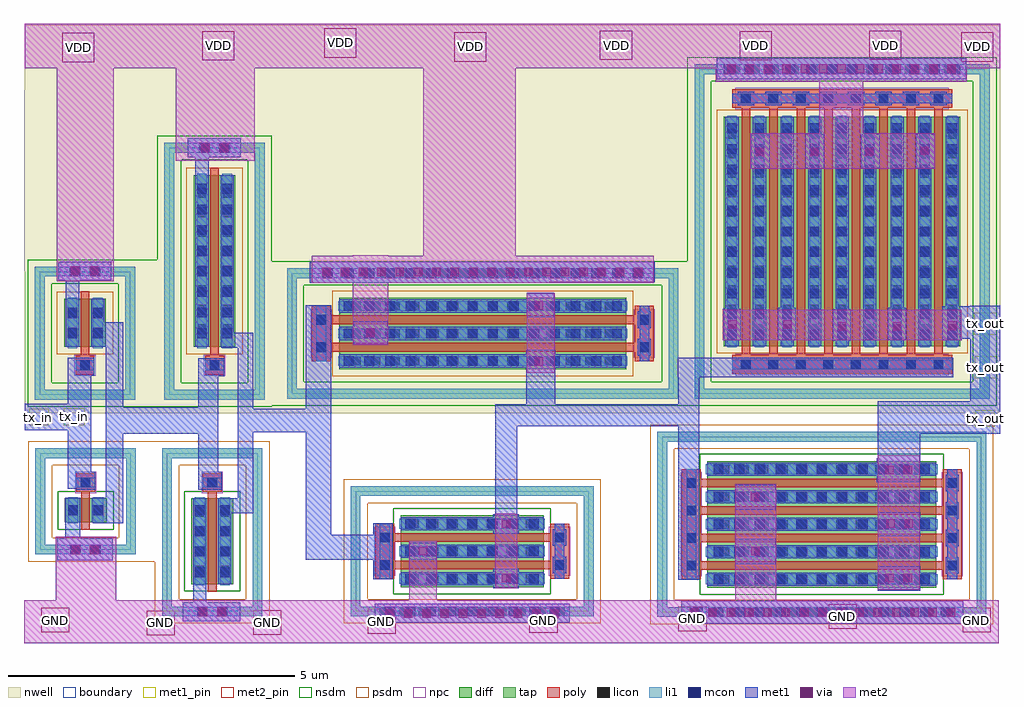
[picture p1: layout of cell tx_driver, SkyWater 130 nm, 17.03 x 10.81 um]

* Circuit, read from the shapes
.subckt tx_driver GND VDD tx_in tx_out
XM1 sky130_fd_pr__nfet_01v8_QR2VME_4/D tx_in GND GND sky130_fd_pr__nfet_01v8 w=0.42 l=0.15
XM2 sky130_fd_pr__nfet_01v8_B963HY_5/D sky130_fd_pr__nfet_01v8_QR2VME_4/D GND GND sky130_fd_pr__nfet_01v8 w=1.5 l=0.15
XM3 GND sky130_fd_pr__nfet_01v8_B963HY_5/D sky130_fd_pr__nfet_01v8_J6ZURV_6/D0 GND sky130_fd_pr__nfet_01v8 w=2.5 l=0.15 m=2
XM4 GND sky130_fd_pr__nfet_01v8_J6ZURV_6/D0 tx_out GND sky130_fd_pr__nfet_01v8 w=4 l=0.15 m=4
XM5 sky130_fd_pr__nfet_01v8_QR2VME_4/D tx_in VDD VDD sky130_fd_pr__pfet_01v8 w=0.84 l=0.15
XM6 sky130_fd_pr__nfet_01v8_B963HY_5/D sky130_fd_pr__nfet_01v8_QR2VME_4/D VDD VDD sky130_fd_pr__pfet_01v8 w=3 l=0.15
XM7 VDD sky130_fd_pr__nfet_01v8_B963HY_5/D sky130_fd_pr__nfet_01v8_J6ZURV_6/D0 VDD sky130_fd_pr__pfet_01v8 w=5 l=0.15 m=2
XM8 VDD sky130_fd_pr__nfet_01v8_J6ZURV_6/D0 tx_out VDD sky130_fd_pr__pfet_01v8 w=4 l=0.15 m=8
.ends

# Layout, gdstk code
from math import pi, radians
import gdstk
lib = gdstk.Library(unit=1e-6, precision=1e-09)
def R(c, l, rs):  # rectangles x0, y0, x1, y1
    for r in rs: c.add(gdstk.rectangle(r[:2], r[2:], *l))
def A(c, l, x, y, w, h, nx, ny, dx, dy):  # array of equal rectangles
    R(c, l, [(x+i*dx, y+j*dy, x+i*dx+w, y+j*dy+h) for i in range(nx) for j in range(ny)])
nwell = (64, 20)
diff = (65, 20)
tap = (65, 44)
poly = (66, 20)
licon = (66, 44)
li1 = (67, 20)
mcon = (67, 44)
met1_pin = (68, 16)
met1 = (68, 20)
via = (68, 44)
met2_pin = (69, 16)
met2 = (69, 20)
nsdm = (93, 44)
psdm = (94, 20)
npc = (95, 20)
boundary = (235, 4)

sky130_fd_pr__pfet_01v8_ = lib.new_cell('sky130_fd_pr__pfet_01v8_JLBS79')
R(sky130_fd_pr__pfet_01v8_, nwell, [(-1.055,-1.34,1.055,1.34)])
R(sky130_fd_pr__pfet_01v8_, diff, [(-0.365,-0.24,0.365,0.6)])
R(sky130_fd_pr__pfet_01v8_, tap, [(-0.875,-1.16,0.875,-0.99), (-0.875,-0.99,-0.705,0.99), (0.705,-0.99,0.875,0.99), (-0.875,0.99,0.875,1.16)])
R(sky130_fd_pr__pfet_01v8_, poly, [(-0.165,-0.725,0.165,-0.395), (-0.075,-0.395,0.075,0.73)])
R(sky130_fd_pr__pfet_01v8_, licon, [(-0.085,-0.645,0.085,-0.475), (-0.305,-0.075,-0.135,0.095), (0.135,-0.075,0.305,0.095), (-0.305,0.265,-0.135,0.435), (0.135,0.265,0.305,0.435), (-0.255,0.99,-0.085,1.16), (0.085,0.99,0.255,1.16)])
R(sky130_fd_pr__pfet_01v8_, li1, [(-0.875,-1.16,0.875,-0.99), (-0.875,-0.99,-0.705,0.99), (0.705,-0.99,0.875,0.99), (-0.165,-0.645,0.165,-0.475), (-0.305,-0.26,-0.135,0.62), (0.135,-0.26,0.305,0.62), (-0.875,0.99,0.875,1.16)])
R(sky130_fd_pr__pfet_01v8_, mcon, [(-0.085,-0.645,0.085,-0.475), (-0.305,-0.085,-0.135,0.085), (0.135,-0.085,0.305,0.085), (-0.305,0.275,-0.135,0.445), (0.135,0.275,0.305,0.445)])
R(sky130_fd_pr__pfet_01v8_, met1, [(-0.145,-0.675,0.145,-0.445), (-0.335,-0.24,-0.105,0.6), (0.105,-0.24,0.335,0.6)])
R(sky130_fd_pr__pfet_01v8_, nsdm, [(-1,-1.285,1,-0.865), (-1,-0.865,-0.58,0.865), (0.58,-0.865,1,0.865), (-1,0.865,1,1.285)])
R(sky130_fd_pr__pfet_01v8_, psdm, [(-0.49,-0.365,0.49,0.725)])
R(sky130_fd_pr__pfet_01v8_, npc, [(-0.185,-0.745,0.185,-0.375)])
R(sky130_fd_pr__pfet_01v8_, boundary, [(-0.79,-1.075,0.79,1.075)])
sky130_fd_pr__pfet_01v8_.add(gdstk.Label('B', (0,-1.075), layer=65, texttype=5))
sky130_fd_pr__pfet_01v8_.add(gdstk.Label('G', (0,-0.56), layer=67, texttype=5))
sky130_fd_pr__pfet_01v8_.add(gdstk.Label('S', (0.22,0.18), layer=67, texttype=5))
sky130_fd_pr__pfet_01v8_.add(gdstk.Label('D', (-0.22,0.18), layer=67, texttype=5))

c_sky130_fd_pr__pfet_01v8_ = lib.new_cell('sky130_fd_pr__pfet_01v8_469T24')
R(c_sky130_fd_pr__pfet_01v8_, nwell, [(-1.055,-2.42,1.055,2.42)])
R(c_sky130_fd_pr__pfet_01v8_, diff, [(-0.365,-1.32,0.365,1.68)])
R(c_sky130_fd_pr__pfet_01v8_, tap, [(-0.875,-2.24,0.875,-2.07), (-0.875,-2.07,-0.705,2.07), (0.705,-2.07,0.875,2.07), (-0.875,2.07,0.875,2.24)])
R(c_sky130_fd_pr__pfet_01v8_, poly, [(-0.165,-1.805,0.165,-1.475), (-0.075,-1.475,0.075,1.81)])
A(c_sky130_fd_pr__pfet_01v8_, licon, -0.305, -1.095, 0.17, 0.17, 1, 8, 0, 0.34)
A(c_sky130_fd_pr__pfet_01v8_, licon, 0.135, -1.095, 0.17, 0.17, 1, 8, 0, 0.34)
R(c_sky130_fd_pr__pfet_01v8_, licon, [(-0.085,-1.725,0.085,-1.555), (-0.255,2.07,-0.085,2.24), (0.085,2.07,0.255,2.24)])
R(c_sky130_fd_pr__pfet_01v8_, li1, [(-0.875,-2.24,0.875,-2.07), (-0.875,-2.07,-0.705,2.07), (0.705,-2.07,0.875,2.07), (-0.165,-1.725,0.165,-1.555), (-0.305,-1.34,-0.135,1.7), (0.135,-1.34,0.305,1.7), (-0.875,2.07,0.875,2.24)])
A(c_sky130_fd_pr__pfet_01v8_, mcon, -0.305, -1.165, 0.17, 0.17, 1, 8, 0, 0.36)
A(c_sky130_fd_pr__pfet_01v8_, mcon, 0.135, -1.165, 0.17, 0.17, 1, 8, 0, 0.36)
R(c_sky130_fd_pr__pfet_01v8_, mcon, [(-0.085,-1.725,0.085,-1.555)])
R(c_sky130_fd_pr__pfet_01v8_, met1, [(-0.145,-1.755,0.145,-1.525), (-0.335,-1.32,-0.105,1.68), (0.105,-1.32,0.335,1.68)])
R(c_sky130_fd_pr__pfet_01v8_, nsdm, [(-1,-2.365,1,-1.945), (-1,-1.945,-0.58,1.945), (0.58,-1.945,1,1.945), (-1,1.945,1,2.365)])
R(c_sky130_fd_pr__pfet_01v8_, psdm, [(-0.49,-1.445,0.49,1.805)])
R(c_sky130_fd_pr__pfet_01v8_, npc, [(-0.185,-1.825,0.185,-1.455)])
R(c_sky130_fd_pr__pfet_01v8_, boundary, [(-0.79,-2.155,0.79,2.155)])
c_sky130_fd_pr__pfet_01v8_.add(gdstk.Label('B', (0,-2.155), layer=65, texttype=5))
c_sky130_fd_pr__pfet_01v8_.add(gdstk.Label('G', (0,-1.64), layer=67, texttype=5))
c_sky130_fd_pr__pfet_01v8_.add(gdstk.Label('S', (0.22,0.18), layer=67, texttype=5))
c_sky130_fd_pr__pfet_01v8_.add(gdstk.Label('D', (-0.22,0.18), layer=67, texttype=5))

c_sky130_fd_pr__pfet_01v8__ = lib.new_cell('sky130_fd_pr__pfet_01v8_HYQDXA')
R(c_sky130_fd_pr__pfet_01v8__, nwell, [(-1.315,-3.595,1.315,3.595)])
R(c_sky130_fd_pr__pfet_01v8__, diff, [(-0.625,-2.5,0.625,2.5)])
R(c_sky130_fd_pr__pfet_01v8__, tap, [(-1.135,-3.415,1.135,-3.245), (-1.135,-3.245,-0.965,3.245), (0.965,-3.245,1.135,3.245), (-1.135,3.245,1.135,3.415)])
R(c_sky130_fd_pr__pfet_01v8__, poly, [(-0.48,-2.985,0.48,-2.655), (-0.315,-2.655,-0.165,2.655), (0.165,-2.655,0.315,2.655), (-0.48,2.655,0.48,2.985)])
A(c_sky130_fd_pr__pfet_01v8__, licon, 0.965, -2.805, 0.17, 0.17, 1, 17, 0, 0.34)
A(c_sky130_fd_pr__pfet_01v8__, licon, -0.565, -2.295, 0.17, 0.17, 3, 14, 0.48, 0.34)
R(c_sky130_fd_pr__pfet_01v8__, licon, [(-0.325,-2.905,-0.155,-2.735), (0.155,-2.905,0.325,-2.735), (-0.325,2.735,-0.155,2.905), (0.155,2.735,0.325,2.905)])
A(c_sky130_fd_pr__pfet_01v8__, li1, -0.565, -2.52, 0.17, 5.04, 3, 1, 0.48, 0)
R(c_sky130_fd_pr__pfet_01v8__, li1, [(-1.135,-3.415,1.135,-3.245), (-1.135,-3.245,-0.965,3.245), (0.965,-3.245,1.135,3.245), (-0.48,-2.905,0.48,-2.735), (-0.48,2.735,0.48,2.905), (-1.135,3.245,1.135,3.415)])
A(c_sky130_fd_pr__pfet_01v8__, mcon, -0.565, -2.425, 0.17, 0.17, 3, 14, 0.48, 0.36)
R(c_sky130_fd_pr__pfet_01v8__, mcon, [(-0.325,-2.905,-0.155,-2.735), (0.155,-2.905,0.325,-2.735), (-0.325,2.735,-0.155,2.905), (0.155,2.735,0.325,2.905)])
A(c_sky130_fd_pr__pfet_01v8__, met1, -0.595, -2.5, 0.23, 5, 3, 1, 0.48, 0)
R(c_sky130_fd_pr__pfet_01v8__, met1, [(-0.385,-2.935,-0.095,-2.905), (0.095,-2.935,0.385,-2.905), (-0.48,-2.905,0.48,-2.735), (-0.385,-2.735,-0.095,-2.705), (0.095,-2.735,0.385,-2.705), (-0.385,2.705,-0.095,2.735), (0.095,2.705,0.385,2.735), (-0.48,2.735,0.48,2.905), (-0.385,2.905,-0.095,2.935), (0.095,2.905,0.385,2.935)])
R(c_sky130_fd_pr__pfet_01v8__, nsdm, [(-1.26,-3.54,1.26,-3.12), (-1.26,-3.12,-0.84,3.12), (0.84,-3.12,1.26,3.12), (-1.26,3.12,1.26,3.54)])
R(c_sky130_fd_pr__pfet_01v8__, psdm, [(-0.75,-2.625,0.75,2.625)])
R(c_sky130_fd_pr__pfet_01v8__, npc, [(-0.425,-3.005,0.425,-2.635), (-0.425,2.635,0.425,3.005)])
R(c_sky130_fd_pr__pfet_01v8__, boundary, [(-1.05,-3.33,1.05,3.33)])
c_sky130_fd_pr__pfet_01v8__.add(gdstk.Label('B', (0,-3.33), layer=65, texttype=5))
c_sky130_fd_pr__pfet_01v8__.add(gdstk.Label('S1', (0,0), layer=67, texttype=5))
c_sky130_fd_pr__pfet_01v8__.add(gdstk.Label('G', (-0.24,2.82), layer=67, texttype=5))
c_sky130_fd_pr__pfet_01v8__.add(gdstk.Label('G', (0.24,2.82), layer=67, texttype=5))
c_sky130_fd_pr__pfet_01v8__.add(gdstk.Label('D0', (-0.48,0), layer=67, texttype=5))

c_sky130_fd_pr__pfet_01v8___ = lib.new_cell('sky130_fd_pr__pfet_01v8_DNXYRW')
R(c_sky130_fd_pr__pfet_01v8___, nwell, [(-2.755,-3.095,2.755,3.095)])
R(c_sky130_fd_pr__pfet_01v8___, diff, [(-2.065,-2,2.065,2)])
R(c_sky130_fd_pr__pfet_01v8___, tap, [(-2.575,-2.915,2.575,-2.745), (-2.575,-2.745,-2.405,2.745), (2.405,-2.745,2.575,2.745), (-2.575,2.745,2.575,2.915)])
A(c_sky130_fd_pr__pfet_01v8___, poly, -1.755, -2.155, 0.15, 4.31, 8, 1, 0.48, 0)
R(c_sky130_fd_pr__pfet_01v8___, poly, [(-1.92,-2.485,1.92,-2.155), (-1.92,2.155,1.92,2.485)])
A(c_sky130_fd_pr__pfet_01v8___, licon, -1.765, -2.405, 0.17, 0.17, 8, 2, 0.48, 4.64)
A(c_sky130_fd_pr__pfet_01v8___, licon, -2.005, -1.785, 0.17, 0.17, 9, 11, 0.48, 0.34)
A(c_sky130_fd_pr__pfet_01v8___, licon, -1.955, 2.745, 0.17, 0.17, 12, 1, 0.34, 0)
A(c_sky130_fd_pr__pfet_01v8___, li1, -2.005, -2.02, 0.17, 4.04, 9, 1, 0.48, 0)
R(c_sky130_fd_pr__pfet_01v8___, li1, [(-2.575,-2.915,2.575,-2.745), (-2.575,-2.745,-2.405,2.745), (2.405,-2.745,2.575,2.745), (-1.92,-2.405,1.92,-2.235), (-1.92,2.235,1.92,2.405), (-2.575,2.745,2.575,2.915)])
A(c_sky130_fd_pr__pfet_01v8___, mcon, -1.765, -2.405, 0.17, 0.17, 8, 2, 0.48, 4.64)
A(c_sky130_fd_pr__pfet_01v8___, mcon, -2.005, -1.885, 0.17, 0.17, 9, 11, 0.48, 0.36)
A(c_sky130_fd_pr__pfet_01v8___, met1, -1.825, -2.435, 0.29, 0.03, 8, 2, 0.48, 0.2)
A(c_sky130_fd_pr__pfet_01v8___, met1, -2.035, -2, 0.23, 4, 9, 1, 0.48, 0)
A(c_sky130_fd_pr__pfet_01v8___, met1, -1.825, 2.205, 0.29, 0.03, 8, 2, 0.48, 0.2)
R(c_sky130_fd_pr__pfet_01v8___, met1, [(-1.92,-2.405,1.92,-2.235), (-1.92,2.235,1.92,2.405)])
R(c_sky130_fd_pr__pfet_01v8___, nsdm, [(-2.7,-3.04,2.7,-2.62), (-2.7,-2.62,-2.28,2.62), (2.28,-2.62,2.7,2.62), (-2.7,2.62,2.7,3.04)])
R(c_sky130_fd_pr__pfet_01v8___, psdm, [(-2.19,-2.125,2.19,2.125)])
R(c_sky130_fd_pr__pfet_01v8___, npc, [(-1.865,-2.505,1.865,-2.135), (-1.865,2.135,1.865,2.505)])
R(c_sky130_fd_pr__pfet_01v8___, boundary, [(-2.49,-2.83,2.49,2.83)])
c_sky130_fd_pr__pfet_01v8___.add(gdstk.Label('B', (0,-2.83), layer=65, texttype=5))
c_sky130_fd_pr__pfet_01v8___.add(gdstk.Label('S7', (1.44,0), layer=67, texttype=5))
c_sky130_fd_pr__pfet_01v8___.add(gdstk.Label('D6', (0.96,0), layer=67, texttype=5))
c_sky130_fd_pr__pfet_01v8___.add(gdstk.Label('S5', (0.48,0), layer=67, texttype=5))
c_sky130_fd_pr__pfet_01v8___.add(gdstk.Label('S3', (-0.48,0), layer=67, texttype=5))
c_sky130_fd_pr__pfet_01v8___.add(gdstk.Label('D2', (-0.96,0), layer=67, texttype=5))
c_sky130_fd_pr__pfet_01v8___.add(gdstk.Label('S1', (-1.44,0), layer=67, texttype=5))
c_sky130_fd_pr__pfet_01v8___.add(gdstk.Label('D4', (0,0), layer=67, texttype=5))
c_sky130_fd_pr__pfet_01v8___.add(gdstk.Label('G', (-1.68,2.32), layer=67, texttype=5))
c_sky130_fd_pr__pfet_01v8___.add(gdstk.Label('G', (-1.2,2.32), layer=67, texttype=5))
c_sky130_fd_pr__pfet_01v8___.add(gdstk.Label('G', (-0.72,2.32), layer=67, texttype=5))
c_sky130_fd_pr__pfet_01v8___.add(gdstk.Label('G', (-0.24,2.32), layer=67, texttype=5))
c_sky130_fd_pr__pfet_01v8___.add(gdstk.Label('G', (0.24,2.32), layer=67, texttype=5))
c_sky130_fd_pr__pfet_01v8___.add(gdstk.Label('G', (0.72,2.32), layer=67, texttype=5))
c_sky130_fd_pr__pfet_01v8___.add(gdstk.Label('G', (1.2,2.32), layer=67, texttype=5))
c_sky130_fd_pr__pfet_01v8___.add(gdstk.Label('G', (1.68,2.32), layer=67, texttype=5))
c_sky130_fd_pr__pfet_01v8___.add(gdstk.Label('D0', (-1.92,0), layer=67, texttype=5))

sky130_fd_pr__nfet_01v8_ = lib.new_cell('sky130_fd_pr__nfet_01v8_QR2VME')
R(sky130_fd_pr__nfet_01v8_, diff, [(-0.365,-0.365,0.365,0.055)])
R(sky130_fd_pr__nfet_01v8_, tap, [(-0.875,-0.925,0.875,-0.755), (-0.875,-0.755,-0.705,0.755), (0.705,-0.755,0.875,0.755), (-0.875,0.755,0.875,0.925)])
R(sky130_fd_pr__nfet_01v8_, poly, [(-0.075,-0.495,0.075,0.165), (-0.165,0.165,0.165,0.495)])
R(sky130_fd_pr__nfet_01v8_, licon, [(-0.255,-0.925,-0.085,-0.755), (0.085,-0.925,0.255,-0.755), (-0.305,-0.24,-0.135,-0.07), (0.135,-0.24,0.305,-0.07), (-0.085,0.245,0.085,0.415)])
R(sky130_fd_pr__nfet_01v8_, li1, [(-0.875,-0.925,0.875,-0.755), (-0.875,-0.755,-0.705,0.755), (0.705,-0.755,0.875,0.755), (-0.305,-0.385,-0.135,0.075), (0.135,-0.385,0.305,0.075), (-0.165,0.245,0.165,0.415), (-0.875,0.755,0.875,0.925)])
R(sky130_fd_pr__nfet_01v8_, mcon, [(-0.305,-0.24,-0.135,-0.07), (0.135,-0.24,0.305,-0.07), (-0.085,0.245,0.085,0.415)])
R(sky130_fd_pr__nfet_01v8_, met1, [(-0.335,-0.365,-0.105,0.055), (0.105,-0.365,0.335,0.055), (-0.145,0.215,0.145,0.445)])
R(sky130_fd_pr__nfet_01v8_, nsdm, [(-0.49,-0.49,0.49,0.18)])
R(sky130_fd_pr__nfet_01v8_, psdm, [(-1,-1.05,1,-0.63), (-1,-0.63,-0.58,0.63), (0.58,-0.63,1,0.63), (-1,0.63,1,1.05)])
R(sky130_fd_pr__nfet_01v8_, npc, [(-0.185,0.145,0.185,0.515)])
R(sky130_fd_pr__nfet_01v8_, boundary, [(-0.79,-0.84,0.79,0.84)])
sky130_fd_pr__nfet_01v8_.add(gdstk.Label('G', (0,0.33), layer=67, texttype=5))
sky130_fd_pr__nfet_01v8_.add(gdstk.Label('S', (0.22,-0.155), layer=67, texttype=5))
sky130_fd_pr__nfet_01v8_.add(gdstk.Label('D', (-0.22,-0.155), layer=67, texttype=5))
sky130_fd_pr__nfet_01v8_.add(gdstk.Label('B', (0,-0.84), layer=67, texttype=5))

c_sky130_fd_pr__nfet_01v8_ = lib.new_cell('sky130_fd_pr__nfet_01v8_B963HY')
R(c_sky130_fd_pr__nfet_01v8_, diff, [(-0.365,-0.905,0.365,0.595)])
R(c_sky130_fd_pr__nfet_01v8_, tap, [(-0.875,-1.465,0.875,-1.295), (-0.875,-1.295,-0.705,1.295), (0.705,-1.295,0.875,1.295), (-0.875,1.295,0.875,1.465)])
R(c_sky130_fd_pr__nfet_01v8_, poly, [(-0.075,-1.035,0.075,0.705), (-0.165,0.705,0.165,1.035)])
A(c_sky130_fd_pr__nfet_01v8_, licon, -0.305, -0.75, 0.17, 0.17, 1, 4, 0, 0.34)
A(c_sky130_fd_pr__nfet_01v8_, licon, 0.135, -0.75, 0.17, 0.17, 1, 4, 0, 0.34)
R(c_sky130_fd_pr__nfet_01v8_, licon, [(-0.255,-1.465,-0.085,-1.295), (0.085,-1.465,0.255,-1.295), (-0.085,0.785,0.085,0.955)])
R(c_sky130_fd_pr__nfet_01v8_, li1, [(-0.875,-1.465,0.875,-1.295), (-0.875,-1.295,-0.705,1.295), (0.705,-1.295,0.875,1.295), (-0.305,-0.925,-0.135,0.615), (0.135,-0.925,0.305,0.615), (-0.165,0.785,0.165,0.955), (-0.875,1.295,0.875,1.465)])
A(c_sky130_fd_pr__nfet_01v8_, mcon, -0.305, -0.78, 0.17, 0.17, 1, 4, 0, 0.36)
A(c_sky130_fd_pr__nfet_01v8_, mcon, 0.135, -0.78, 0.17, 0.17, 1, 4, 0, 0.36)
R(c_sky130_fd_pr__nfet_01v8_, mcon, [(-0.085,0.785,0.085,0.955)])
R(c_sky130_fd_pr__nfet_01v8_, met1, [(-0.335,-0.905,-0.105,0.595), (0.105,-0.905,0.335,0.595), (-0.145,0.755,0.145,0.985)])
R(c_sky130_fd_pr__nfet_01v8_, nsdm, [(-0.49,-1.03,0.49,0.72)])
R(c_sky130_fd_pr__nfet_01v8_, psdm, [(-1,-1.59,1,-1.17), (-1,-1.17,-0.58,1.17), (0.58,-1.17,1,1.17), (-1,1.17,1,1.59)])
R(c_sky130_fd_pr__nfet_01v8_, npc, [(-0.185,0.685,0.185,1.055)])
R(c_sky130_fd_pr__nfet_01v8_, boundary, [(-0.79,-1.38,0.79,1.38)])
c_sky130_fd_pr__nfet_01v8_.add(gdstk.Label('G', (0,0.87), layer=67, texttype=5))
c_sky130_fd_pr__nfet_01v8_.add(gdstk.Label('S', (0.22,-0.155), layer=67, texttype=5))
c_sky130_fd_pr__nfet_01v8_.add(gdstk.Label('D', (-0.22,-0.155), layer=67, texttype=5))
c_sky130_fd_pr__nfet_01v8_.add(gdstk.Label('B', (0,-1.38), layer=67, texttype=5))

c_sky130_fd_pr__nfet_01v8__ = lib.new_cell('sky130_fd_pr__nfet_01v8_J6ZURV')
R(c_sky130_fd_pr__nfet_01v8__, diff, [(-0.625,-1.25,0.625,1.25)])
R(c_sky130_fd_pr__nfet_01v8__, tap, [(-1.135,-2.12,1.135,-1.95), (-1.135,-1.95,-0.965,1.95), (0.965,-1.95,1.135,1.95), (-1.135,1.95,1.135,2.12)])
R(c_sky130_fd_pr__nfet_01v8__, poly, [(-0.48,-1.69,0.48,-1.36), (-0.315,-1.36,-0.165,1.36), (0.165,-1.36,0.315,1.36), (-0.48,1.36,0.48,1.69)])
A(c_sky130_fd_pr__nfet_01v8__, licon, 0.965, -1.615, 0.17, 0.17, 1, 10, 0, 0.34)
A(c_sky130_fd_pr__nfet_01v8__, licon, -0.565, -1.105, 0.17, 0.17, 3, 7, 0.48, 0.34)
R(c_sky130_fd_pr__nfet_01v8__, licon, [(-0.325,-1.61,-0.155,-1.44), (0.155,-1.61,0.325,-1.44), (-0.325,1.44,-0.155,1.61), (0.155,1.44,0.325,1.61)])
A(c_sky130_fd_pr__nfet_01v8__, li1, -0.565, -1.27, 0.17, 2.54, 3, 1, 0.48, 0)
R(c_sky130_fd_pr__nfet_01v8__, li1, [(-1.135,-2.12,1.135,-1.95), (-1.135,-1.95,-0.965,1.95), (0.965,-1.95,1.135,1.95), (-0.48,-1.61,0.48,-1.44), (-0.48,1.44,0.48,1.61), (-1.135,1.95,1.135,2.12)])
A(c_sky130_fd_pr__nfet_01v8__, mcon, -0.565, -1.165, 0.17, 0.17, 3, 7, 0.48, 0.36)
R(c_sky130_fd_pr__nfet_01v8__, mcon, [(-0.325,-1.61,-0.155,-1.44), (0.155,-1.61,0.325,-1.44), (-0.325,1.44,-0.155,1.61), (0.155,1.44,0.325,1.61)])
A(c_sky130_fd_pr__nfet_01v8__, met1, -0.595, -1.25, 0.23, 2.5, 3, 1, 0.48, 0)
R(c_sky130_fd_pr__nfet_01v8__, met1, [(-0.385,-1.64,-0.095,-1.61), (0.095,-1.64,0.385,-1.61), (-0.48,-1.61,0.48,-1.44), (-0.385,-1.44,-0.095,-1.41), (0.095,-1.44,0.385,-1.41), (-0.385,1.41,-0.095,1.44), (0.095,1.41,0.385,1.44), (-0.48,1.44,0.48,1.61), (-0.385,1.61,-0.095,1.64), (0.095,1.61,0.385,1.64)])
R(c_sky130_fd_pr__nfet_01v8__, nsdm, [(-0.75,-1.375,0.75,1.375)])
R(c_sky130_fd_pr__nfet_01v8__, psdm, [(-1.26,-2.245,1.26,-1.825), (-1.26,-1.825,-0.84,1.825), (0.84,-1.825,1.26,1.825), (-1.26,1.825,1.26,2.245)])
R(c_sky130_fd_pr__nfet_01v8__, npc, [(-0.425,-1.71,0.425,-1.34), (-0.425,1.34,0.425,1.71)])
R(c_sky130_fd_pr__nfet_01v8__, boundary, [(-1.05,-2.035,1.05,2.035)])
c_sky130_fd_pr__nfet_01v8__.add(gdstk.Label('B', (0,-2.035), layer=65, texttype=5))
c_sky130_fd_pr__nfet_01v8__.add(gdstk.Label('S1', (0,0), layer=67, texttype=5))
c_sky130_fd_pr__nfet_01v8__.add(gdstk.Label('G', (-0.24,1.525), layer=67, texttype=5))
c_sky130_fd_pr__nfet_01v8__.add(gdstk.Label('G', (0.24,1.525), layer=67, texttype=5))
c_sky130_fd_pr__nfet_01v8__.add(gdstk.Label('D0', (-0.48,0), layer=67, texttype=5))

c_sky130_fd_pr__nfet_01v8___ = lib.new_cell('sky130_fd_pr__nfet_01v8_Y24VV2')
R(c_sky130_fd_pr__nfet_01v8___, diff, [(-1.105,-2,1.105,2)])
R(c_sky130_fd_pr__nfet_01v8___, tap, [(-1.615,-2.87,1.615,-2.7), (-1.615,-2.7,-1.445,2.7), (1.445,-2.7,1.615,2.7), (-1.615,2.7,1.615,2.87)])
A(c_sky130_fd_pr__nfet_01v8___, poly, -0.795, -2.11, 0.15, 4.22, 4, 1, 0.48, 0)
R(c_sky130_fd_pr__nfet_01v8___, poly, [(-0.96,-2.44,0.96,-2.11), (-0.96,2.11,0.96,2.44)])
A(c_sky130_fd_pr__nfet_01v8___, licon, -0.805, -2.36, 0.17, 0.17, 4, 2, 0.48, 4.55)
A(c_sky130_fd_pr__nfet_01v8___, licon, 1.445, -2.295, 0.17, 0.17, 1, 14, 0, 0.34)
A(c_sky130_fd_pr__nfet_01v8___, licon, -1.045, -1.785, 0.17, 0.17, 5, 11, 0.48, 0.34)
A(c_sky130_fd_pr__nfet_01v8___, li1, -1.045, -2.02, 0.17, 4.04, 5, 1, 0.48, 0)
R(c_sky130_fd_pr__nfet_01v8___, li1, [(-1.615,-2.87,1.615,-2.7), (-1.615,-2.7,-1.445,2.7), (1.445,-2.7,1.615,2.7), (-0.96,-2.36,0.96,-2.19), (-0.96,2.19,0.96,2.36), (-1.615,2.7,1.615,2.87)])
A(c_sky130_fd_pr__nfet_01v8___, mcon, -0.805, -2.36, 0.17, 0.17, 4, 2, 0.48, 4.55)
A(c_sky130_fd_pr__nfet_01v8___, mcon, -1.045, -1.885, 0.17, 0.17, 5, 11, 0.48, 0.36)
A(c_sky130_fd_pr__nfet_01v8___, met1, -0.865, -2.39, 0.29, 0.03, 4, 2, 0.48, 0.2)
A(c_sky130_fd_pr__nfet_01v8___, met1, -1.075, -2, 0.23, 4, 5, 1, 0.48, 0)
A(c_sky130_fd_pr__nfet_01v8___, met1, -0.865, 2.16, 0.29, 0.03, 4, 2, 0.48, 0.2)
R(c_sky130_fd_pr__nfet_01v8___, met1, [(-0.96,-2.36,0.96,-2.19), (-0.96,2.19,0.96,2.36)])
R(c_sky130_fd_pr__nfet_01v8___, nsdm, [(-1.23,-2.125,1.23,2.125)])
R(c_sky130_fd_pr__nfet_01v8___, psdm, [(-1.74,-2.995,1.74,-2.575), (-1.74,-2.575,-1.32,2.575), (1.32,-2.575,1.74,2.575), (-1.74,2.575,1.74,2.995)])
R(c_sky130_fd_pr__nfet_01v8___, npc, [(-0.905,-2.46,0.905,-2.09), (-0.905,2.09,0.905,2.46)])
R(c_sky130_fd_pr__nfet_01v8___, boundary, [(-1.53,-2.785,1.53,2.785)])
c_sky130_fd_pr__nfet_01v8___.add(gdstk.Label('B', (0,-2.785), layer=65, texttype=5))
c_sky130_fd_pr__nfet_01v8___.add(gdstk.Label('S3', (0.48,0), layer=67, texttype=5))
c_sky130_fd_pr__nfet_01v8___.add(gdstk.Label('D2', (0,0), layer=67, texttype=5))
c_sky130_fd_pr__nfet_01v8___.add(gdstk.Label('S1', (-0.48,0), layer=67, texttype=5))
c_sky130_fd_pr__nfet_01v8___.add(gdstk.Label('G', (-0.72,2.275), layer=67, texttype=5))
c_sky130_fd_pr__nfet_01v8___.add(gdstk.Label('G', (-0.24,2.275), layer=67, texttype=5))
c_sky130_fd_pr__nfet_01v8___.add(gdstk.Label('G', (0.24,2.275), layer=67, texttype=5))
c_sky130_fd_pr__nfet_01v8___.add(gdstk.Label('G', (0.72,2.275), layer=67, texttype=5))
c_sky130_fd_pr__nfet_01v8___.add(gdstk.Label('D0', (-0.96,0), layer=67, texttype=5))

tx_driver = lib.new_cell('tx_driver')
R(tx_driver, nwell, [(-1.01,-1.78,15.99,-1.56), (1,-1.56,1.3,0.71), (3.27,-1.56,3.58,0.71), (-1.02,0.71,15.99,3.86), (-1.01,3.86,15.99,4.11), (-1.01,4.11,16.01,5)])
R(tx_driver, li1, [(10.51,-5.33,15.29,-5.16), (1.87,-5.32,2.66,-5.15), (5.16,-5.32,8.44,-5.15), (-0.34,-4.24,0.45,-4.07), (4.05,0.58,9.92,0.75), (-0.35,0.61,0.44,0.78), (1.91,2.77,2.7,2.94), (11.16,4.14,15.35,4.31)])
A(tx_driver, mcon, 10.655, -5.33, 0.17, 0.17, 13, 1, 0.36, 0)
A(tx_driver, mcon, 5.275, -5.32, 0.17, 0.17, 9, 1, 0.36, 0)
A(tx_driver, mcon, 4.2, 0.58, 0.17, 0.17, 16, 1, 0.36, 0)
A(tx_driver, mcon, 11.19, 4.14, 0.17, 0.17, 12, 1, 0.36, 0)
R(tx_driver, mcon, [(2,-5.32,2.17,-5.15), (2.36,-5.32,2.53,-5.15), (-0.21,-4.24,-0.04,-4.07), (0.15,-4.24,0.32,-4.07), (-0.22,0.61,-0.05,0.78), (0.14,0.61,0.31,0.78), (2.04,2.77,2.21,2.94), (2.4,2.77,2.57,2.94)])
R(tx_driver, met1_pin, [(15.58,-2.01,15.92,-1.72), (-0.93,-1.99,-0.59,-1.7), (-0.33,-1.99,0.04,-1.69), (15.57,-1.17,15.96,-0.78), (15.56,-0.41,15.95,-0.02)])
R(tx_driver, met1, [(10.45,-5.45,15.37,-5.05), (5.1,-5.43,8.5,-5.1), (1.75,-5.41,2.75,-5.07), (1.93,-5.07,2.16,-4.53), (13.88,-4.87,14.62,-4.45), (7.17,-4.83,7.61,-4.49), (10.4,-4.68,10.76,-2), (5.07,-4.67,5.41,-4.33), (11.39,-4.41,12.1,-3.97), (-0.44,-4.34,0.53,-3.96), (3.9,-4.33,5.41,-3.9), (5.71,-4.33,6.17,-4.04), (-0.3,-3.96,-0.04,-3.25), (13.88,-3.92,14.62,-3.5), (3.9,-3.9,4.34,-2.11), (5.07,-3.9,5.41,-3.7), (7.17,-3.88,7.61,-3.54), (0.18,-3.7,0.71,-3.48), (7.2,-3.54,7.59,-2), (2.39,-3.52,2.98,-3.26), (0.17,-3.48,0.71,-3.31), (11.39,-3.46,12.1,-3.02), (0.16,-3.31,0.71,-3.25), (2.71,-3.26,2.98,-2.11), (0.41,-3.25,0.71,-2.13), (-0.11,-3.11,0.22,-3.09), (2.02,-3.11,2.43,-2.8), (-0.26,-3.09,0.22,-2.8), (13.86,-2.98,14.6,-2.97), (13.86,-2.97,14.62,-2.56), (-0.26,-2.8,0.15,-2.07), (2.02,-2.8,2.37,-2.13), (13.88,-2.56,14.62,-2.13), (0.41,-2.13,2.37,-1.67), (13.88,-2.13,16.01,-1.57), (2.71,-2.11,4.34,-1.7), (-1.01,-2.07,0.15,-1.61), (7.2,-2,10.76,-1.62), (2.71,-1.7,2.98,-0.63), (3.9,-1.7,4.34,0.11), (0.41,-1.67,0.71,-0.62), (2.02,-1.67,2.37,-1.13), (7.74,-1.62,8.25,-0.67), (10.4,-1.62,10.76,-1.15), (-0.26,-1.61,0.15,-1.12), (15.49,-1.57,16.01,-0.48), (10.39,-1.15,15.19,-0.81), (2.02,-1.13,2.47,-0.82), (-0.26,-1.12,0.21,-0.81), (2.42,-0.63,2.98,-0.37), (0.15,-0.62,0.71,-0.41), (4.73,-0.58,5.33,-0.17), (13.09,-0.51,13.41,0.04), (11.17,-0.5,11.49,0.05), (15.02,-0.5,15.34,-0.48), (12.13,-0.49,12.45,0.06), (14.05,-0.49,14.37,0.06), (15,-0.48,16.01,0.09), (0.18,-0.41,0.71,-0.19), (2.41,-0.37,2.64,-0.18), (-0.29,-0.16,-0.06,0.54), (7.75,-0.1,8.23,0.33), (15.49,0.09,16.01,0.1), (3.97,0.5,8.14,0.51), (3.97,0.51,9.99,0.87), (-0.42,0.54,0.5,0.87), (1.97,2.18,2.2,2.69), (11.66,2.49,11.99,3.08), (12.61,2.5,12.94,3.09), (13.58,2.5,13.91,3.09), (14.54,2.5,14.87,3.09), (1.84,2.69,2.76,3.02), (11.07,4.05,15.42,4.42)])
A(tx_driver, via, 5.285, -5.345, 0.15, 0.15, 10, 1, 0.32, 0)
A(tx_driver, via, 10.6, -5.325, 0.15, 0.15, 15, 1, 0.32, 0)
A(tx_driver, via, 4.185, 0.61, 0.15, 0.15, 18, 1, 0.32, 0)
A(tx_driver, via, 11.25, 4.16, 0.15, 0.15, 13, 1, 0.32, 0)
R(tx_driver, via, [(2.03,-5.315,2.18,-5.165), (2.35,-5.315,2.5,-5.165), (7.32,-4.725,7.47,-4.575), (14.005,-4.725,14.155,-4.575), (14.325,-4.725,14.475,-4.575), (5.87,-4.255,6.02,-4.105), (11.67,-4.255,11.82,-4.105), (-0.19,-4.235,-0.04,-4.085), (0.13,-4.235,0.28,-4.085), (7.32,-3.785,7.47,-3.635), (14.025,-3.775,14.175,-3.625), (14.345,-3.775,14.495,-3.625), (11.66,-3.315,11.81,-3.165), (14.005,-2.845,14.155,-2.695), (14.325,-2.845,14.475,-2.695), (7.89,-0.95,8.04,-0.8), (4.95,-0.445,5.1,-0.295), (13.175,-0.335,13.325,-0.185), (14.135,-0.335,14.285,-0.185), (15.105,-0.325,15.255,-0.175), (11.265,-0.305,11.415,-0.155), (12.225,-0.305,12.375,-0.155), (7.89,0.03,8.04,0.18), (-0.195,0.64,-0.045,0.79), (0.125,0.64,0.275,0.79), (11.75,2.705,11.9,2.855), (12.7,2.705,12.85,2.855), (13.66,2.705,13.81,2.855), (14.62,2.725,14.77,2.875), (2.075,2.78,2.225,2.93), (2.395,2.78,2.545,2.93)])
R(tx_driver, met2_pin, [(1.12,-5.65,1.61,-5.22), (2.98,-5.64,3.47,-5.21), (4.98,-5.62,5.47,-5.19), (7.8,-5.61,8.29,-5.18), (-0.72,-5.6,-0.23,-5.17), (15.36,-5.6,15.85,-5.17), (10.4,-5.58,10.89,-5.15), (13.02,-5.54,13.51,-5.11), (-0.35,4.35,0.21,4.86), (6.49,4.36,7.05,4.87), (15.33,4.36,15.89,4.87), (2.09,4.38,2.65,4.89), (11.47,4.38,12.03,4.89), (9.03,4.39,9.59,4.9), (13.73,4.39,14.29,4.9), (4.22,4.43,4.78,4.94)])
R(tx_driver, met2, [(-1.02,-5.79,15.99,-5.04), (-0.47,-5.04,0.59,-3.93), (5.7,-5.04,6.18,-4.01), (11.39,-5.04,12.11,-3.01), (13.88,-4.86,14.61,-2.51), (7.2,-4.83,7.59,-3.53), (7.75,-1.07,8.24,0.32), (4.72,-0.58,5.34,0.5), (11.17,-0.5,15.33,0.03), (4,0.5,9.97,0.97), (-0.45,0.53,0.55,4.24), (4.72,0.97,5.34,0.98), (5.95,0.97,7.56,4.24), (11.65,2.49,14.87,3.11), (1.63,2.63,3.01,4.24), (12.86,3.11,13.62,4.01), (11.05,4.01,15.43,4.24), (-1.01,4.24,16.01,5.02)])
R(tx_driver, nsdm, [(1.045,-1.665,1.305,0.905), (3.305,-1.645,3.445,0.875), (10.525,-1.645,10.555,0.875)])
R(tx_driver, psdm, [(1.055,-4.365,1.265,-2.265)])
tx_driver.add(gdstk.Reference(sky130_fd_pr__pfet_01v8_, (0.045,-0.38), rotation=pi, x_reflection=True))
tx_driver.add(gdstk.Reference(c_sky130_fd_pr__pfet_01v8_, (2.305,0.7), rotation=pi, x_reflection=True))
tx_driver.add(gdstk.Reference(c_sky130_fd_pr__pfet_01v8__, (6.985,-0.385), rotation=pi/2, x_reflection=True))
tx_driver.add(gdstk.Reference(c_sky130_fd_pr__pfet_01v8___, (13.255,1.395), rotation=pi, x_reflection=True))
tx_driver.add(gdstk.Reference(sky130_fd_pr__nfet_01v8_, (0.055,-3.315), rotation=pi, x_reflection=True))
tx_driver.add(gdstk.Reference(c_sky130_fd_pr__nfet_01v8_, (2.265,-3.855), rotation=pi, x_reflection=True))
tx_driver.add(gdstk.Reference(c_sky130_fd_pr__nfet_01v8__, (6.8,-4.185), rotation=3*pi/2, x_reflection=True))
tx_driver.add(gdstk.Reference(c_sky130_fd_pr__nfet_01v8___, (12.9,-3.715), rotation=3*pi/2, x_reflection=True))
tx_driver.add(gdstk.Label('tx_out', (15.75,-1.865), layer=68, texttype=5))
tx_driver.add(gdstk.Label('tx_out', (15.765,-0.975), layer=68, texttype=5))
tx_driver.add(gdstk.Label('tx_out', (15.755,-0.215), layer=68, texttype=5))
tx_driver.add(gdstk.Label('tx_in', (-0.76,-1.845), layer=68, texttype=5))
tx_driver.add(gdstk.Label('tx_in', (-0.145,-1.84), layer=68, texttype=5))
tx_driver.add(gdstk.Label('GND', (1.365,-5.435), layer=69, texttype=5))
tx_driver.add(gdstk.Label('GND', (3.225,-5.425), layer=69, texttype=5))
tx_driver.add(gdstk.Label('GND', (5.225,-5.405), layer=69, texttype=5))
tx_driver.add(gdstk.Label('GND', (8.045,-5.395), layer=69, texttype=5))
tx_driver.add(gdstk.Label('GND', (-0.475,-5.385), layer=69, texttype=5))
tx_driver.add(gdstk.Label('GND', (15.605,-5.385), layer=69, texttype=5))
tx_driver.add(gdstk.Label('GND', (10.645,-5.365), layer=69, texttype=5))
tx_driver.add(gdstk.Label('GND', (13.265,-5.325), layer=69, texttype=5))
tx_driver.add(gdstk.Label('VDD', (-0.07,4.605), layer=69, texttype=5))
tx_driver.add(gdstk.Label('VDD', (6.77,4.615), layer=69, texttype=5))
tx_driver.add(gdstk.Label('VDD', (15.61,4.615), layer=69, texttype=5))
tx_driver.add(gdstk.Label('VDD', (2.37,4.635), layer=69, texttype=5))
tx_driver.add(gdstk.Label('VDD', (11.75,4.635), layer=69, texttype=5))
tx_driver.add(gdstk.Label('VDD', (9.31,4.645), layer=69, texttype=5))
tx_driver.add(gdstk.Label('VDD', (14.01,4.645), layer=69, texttype=5))
tx_driver.add(gdstk.Label('VDD', (4.5,4.685), layer=69, texttype=5))

lib.write_gds('tx_driver.gds')
